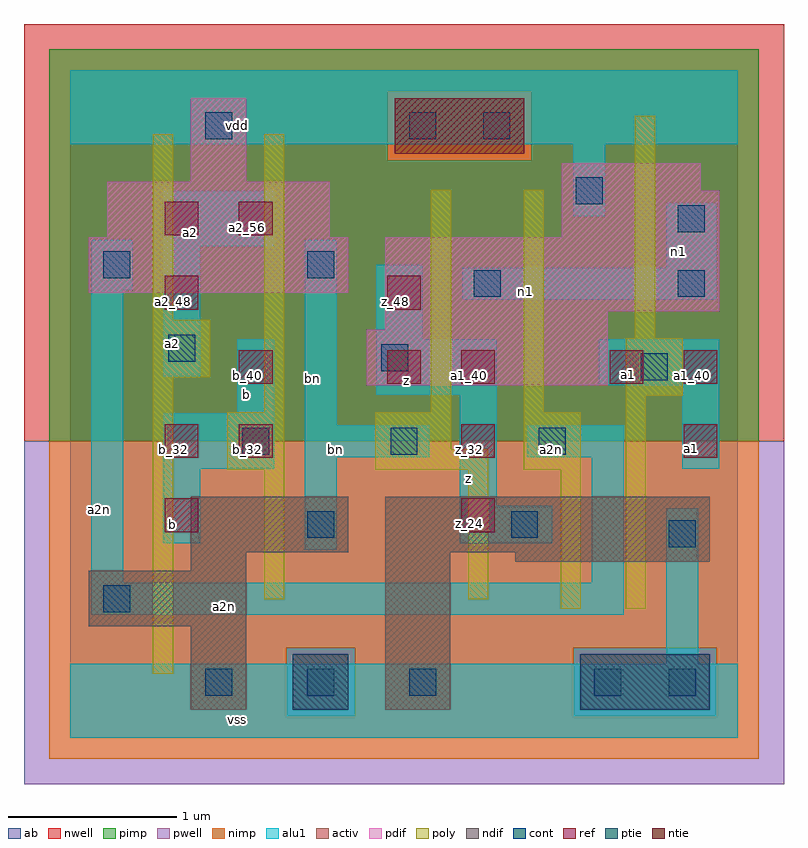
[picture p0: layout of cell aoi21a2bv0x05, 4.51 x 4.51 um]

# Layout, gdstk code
import gdstk
lib = gdstk.Library(unit=1e-6, precision=2.5e-09)
def R(c, l, rs):  # rectangles x0, y0, x1, y1
    for r in rs: c.add(gdstk.rectangle(r[:2], r[2:], *l))
def A(c, l, x, y, w, h, nx, ny, dx, dy):  # array of equal rectangles
    R(c, l, [(x+i*dx, y+j*dy, x+i*dx+w, y+j*dy+h) for i in range(nx) for j in range(ny)])
ndif = (3, 0)
pdif = (4, 0)
ntie = (5, 0)
ptie = (6, 0)
ref = (24, 0)
cont = (25, 0)
pwell = (41, 0)
nwell = (42, 0)
activ = (43, 0)
pimp = (44, 0)
nimp = (45, 0)
poly = (46, 0)
alu1 = (49, 0)
ab = (63, 0)

aoi21a2bv0x05 = lib.new_cell('aoi21a2bv0x05')
R(aoi21a2bv0x05, ndif, [(0.715,0.165,1.045,0.66), (1.87,0.165,2.255,1.1), (0.11,0.66,1.045,0.99), (0.715,0.99,1.045,1.1), (2.64,1.045,3.795,1.1), (0.715,1.1,1.65,1.43), (1.87,1.1,3.795,1.43)])
R(aoi21a2bv0x05, pdif, [(1.76,2.09,3.19,2.42), (1.87,2.42,3.19,2.53), (1.87,2.53,3.85,2.97), (0.11,2.64,1.65,2.97), (0.22,2.97,1.54,3.3), (2.915,2.97,3.85,3.245), (2.915,3.245,3.74,3.41), (0.715,3.3,1.045,3.795)])
R(aoi21a2bv0x05, ntie, [(1.925,3.465,2.695,3.795)])
R(aoi21a2bv0x05, ptie, [(1.32,0.165,1.65,0.495), (3.025,0.165,3.795,0.495)])
A(aoi21a2bv0x05, ref, 1, 1.66, 0.2, 0.2, 3, 1, 1.32, 0)
R(aoi21a2bv0x05, ref, [(0.56,1.22,0.76,1.42), (2.32,1.22,2.52,1.42), (0.56,1.66,0.76,1.86), (1,2.1,1.2,2.3), (1.88,2.1,2.08,2.3), (2.32,2.1,2.52,2.3), (3.2,2.1,3.4,2.3), (3.64,2.1,3.84,2.3), (0.56,2.54,0.76,2.74), (1.88,2.54,2.08,2.74), (0.56,2.98,0.76,3.18), (1,2.98,1.2,3.18)])
A(aoi21a2bv0x05, cont, 0.8, 0.25, 0.16, 0.16, 3, 1, 0.605, 0)
A(aoi21a2bv0x05, cont, 1.02, 1.68, 0.16, 0.16, 3, 1, 0.88, 0)
R(aoi21a2bv0x05, cont, [(3.11,0.25,3.27,0.41), (3.55,0.25,3.71,0.41), (0.195,0.745,0.355,0.905), (3.55,1.13,3.71,1.29), (1.405,1.185,1.565,1.345), (2.615,1.185,2.775,1.345), (3.385,2.12,3.545,2.28), (1.845,2.175,2.005,2.335), (0.58,2.23,0.74,2.39), (2.395,2.615,2.555,2.775), (3.605,2.615,3.765,2.775), (0.195,2.725,0.355,2.885), (1.405,2.725,1.565,2.885), (3.605,3,3.765,3.16), (3,3.165,3.16,3.325), (0.8,3.55,0.96,3.71), (2.01,3.55,2.17,3.71), (2.45,3.55,2.61,3.71)])
R(aoi21a2bv0x05, pwell, [(-0.275,-0.275,4.235,1.76)])
R(aoi21a2bv0x05, nwell, [(-0.275,1.76,4.235,4.235)])
R(aoi21a2bv0x05, activ, [(0.715,0.165,1.045,0.66), (1.32,0.165,1.65,0.495), (1.87,0.165,2.255,1.1), (3.025,0.165,3.795,0.495), (0.11,0.66,1.045,0.99), (0.715,0.99,1.045,1.1), (2.64,1.045,3.795,1.1), (0.715,1.1,1.65,1.43), (1.87,1.1,3.795,1.43), (1.76,2.09,3.19,2.42), (1.87,2.42,3.19,2.53), (1.87,2.53,3.85,2.97), (0.11,2.64,1.65,2.97), (0.22,2.97,1.54,3.3), (2.915,2.97,3.85,3.245), (2.915,3.245,3.74,3.41), (0.715,3.3,1.045,3.795), (1.925,3.465,2.695,3.795)])
R(aoi21a2bv0x05, pimp, [(1.28,0.125,1.69,0.535), (2.985,0.125,3.835,0.535), (-0.125,1.76,4.085,3.425), (-0.125,3.425,1.885,3.835), (2.735,3.425,4.085,3.835), (-0.125,3.835,4.085,4.085)])
R(aoi21a2bv0x05, nimp, [(-0.125,-0.125,4.085,0.125), (-0.125,0.125,1.28,0.535), (1.69,0.125,2.985,0.535), (3.835,0.125,4.085,0.535), (-0.125,0.535,4.085,1.76), (1.885,3.425,2.735,3.835)])
R(aoi21a2bv0x05, poly, [(0.49,0.38,0.61,2.14), (2.91,0.765,3.03,1.59), (3.295,0.765,3.415,2.03), (1.15,0.82,1.27,1.59), (2.36,0.82,2.48,1.59), (0.93,1.59,1.27,1.93), (1.81,1.59,2.48,1.71), (2.69,1.59,3.03,1.93), (1.81,1.71,2.26,1.93), (1.15,1.93,1.27,3.58), (2.14,1.93,2.26,3.25), (2.69,1.93,2.81,3.25), (3.295,2.03,3.635,2.37), (0.49,2.14,0.83,2.48), (3.35,2.37,3.47,3.69), (0.49,2.48,0.61,3.58)])
R(aoi21a2bv0x05, alu1, [(0,0,3.96,0.44), (3.535,0.44,3.725,1.36), (0.125,0.73,3.285,0.92), (0.125,0.92,0.315,2.655), (3.095,0.92,3.285,1.665), (1.39,1.115,1.58,1.665), (0.55,1.155,0.77,1.595), (2.31,1.155,2.86,1.375), (2.31,1.375,2.53,2.035), (0.55,1.595,1.21,1.925), (3.63,1.595,3.85,2.09), (1.39,1.665,2.13,1.855), (2.71,1.665,3.285,1.855), (1.39,1.855,1.58,2.955), (0.99,1.925,1.21,2.365), (1.815,2.035,2.53,2.365), (3.135,2.09,3.85,2.365), (0.55,2.145,0.77,2.915), (1.815,2.365,2.09,2.805), (2.325,2.6,3.835,2.79), (0.125,2.655,0.37,2.955), (3.535,2.79,3.835,3.175), (0.55,2.915,1.21,3.245), (2.985,3.095,3.175,3.52), (0,3.52,3.96,3.96)])
R(aoi21a2bv0x05, ab, [(0,0,3.96,3.96)])
aoi21a2bv0x05.add(gdstk.Label('vss', (0.99,0.11), layer=49, texttype=0))
aoi21a2bv0x05.add(gdstk.Label('a2n', (0.915,0.7775), layer=49, texttype=0))
aoi21a2bv0x05.add(gdstk.Label('a1', (3.685,1.7175), layer=49, texttype=0))
aoi21a2bv0x05.add(gdstk.Label('a2n', (2.8525,1.7125), layer=49, texttype=0))
aoi21a2bv0x05.add(gdstk.Label('z', (2.365,1.54), layer=49, texttype=0))
aoi21a2bv0x05.add(gdstk.Label('b', (0.605,1.265), layer=49, texttype=0))
aoi21a2bv0x05.add(gdstk.Label('bn', (1.575,1.7125), layer=49, texttype=0))
aoi21a2bv0x05.add(gdstk.Label('a1', (3.3125,2.1575), layer=49, texttype=0))
aoi21a2bv0x05.add(gdstk.Label('z', (1.9925,2.1175), layer=49, texttype=0))
aoi21a2bv0x05.add(gdstk.Label('n1', (2.7025,2.6475), layer=49, texttype=0))
aoi21a2bv0x05.add(gdstk.Label('n1', (3.61,2.885), layer=49, texttype=0))
aoi21a2bv0x05.add(gdstk.Label('bn', (1.4375,2.13), layer=49, texttype=0))
aoi21a2bv0x05.add(gdstk.Label('b', (1.045,2.035), layer=49, texttype=0))
aoi21a2bv0x05.add(gdstk.Label('a2', (0.605,2.3375), layer=49, texttype=0))
aoi21a2bv0x05.add(gdstk.Label('a2n', (0.1725,1.3525), layer=49, texttype=0))
aoi21a2bv0x05.add(gdstk.Label('a2', (0.715,2.9975), layer=49, texttype=0))
aoi21a2bv0x05.add(gdstk.Label('vdd', (0.99,3.63), layer=49, texttype=0))
aoi21a2bv0x05.add(gdstk.Label('z_48', (1.93,2.59), layer=24, texttype=0))
aoi21a2bv0x05.add(gdstk.Label('b_32', (0.61,1.71), layer=24, texttype=0))
aoi21a2bv0x05.add(gdstk.Label('b_24', (0.61,1.27), layer=24, texttype=0))
aoi21a2bv0x05.add(gdstk.Label('a1_40', (3.25,2.15), layer=24, texttype=0))
aoi21a2bv0x05.add(gdstk.Label('a1_40', (3.69,2.15), layer=24, texttype=0))
aoi21a2bv0x05.add(gdstk.Label('a1_32', (3.69,1.71), layer=24, texttype=0))
aoi21a2bv0x05.add(gdstk.Label('a2_56', (1.05,3.03), layer=24, texttype=0))
aoi21a2bv0x05.add(gdstk.Label('a2_56', (0.61,3.03), layer=24, texttype=0))
aoi21a2bv0x05.add(gdstk.Label('a2_48', (0.61,2.59), layer=24, texttype=0))
aoi21a2bv0x05.add(gdstk.Label('b_32', (1.05,1.71), layer=24, texttype=0))
aoi21a2bv0x05.add(gdstk.Label('b_40', (1.05,2.15), layer=24, texttype=0))
aoi21a2bv0x05.add(gdstk.Label('z_24', (2.37,1.27), layer=24, texttype=0))
aoi21a2bv0x05.add(gdstk.Label('z_32', (2.37,1.71), layer=24, texttype=0))
aoi21a2bv0x05.add(gdstk.Label('z_40', (1.93,2.15), layer=24, texttype=0))
aoi21a2bv0x05.add(gdstk.Label('a1_40', (2.37,2.15), layer=24, texttype=0))

lib.write_gds('aoi21a2bv0x05.gds')
